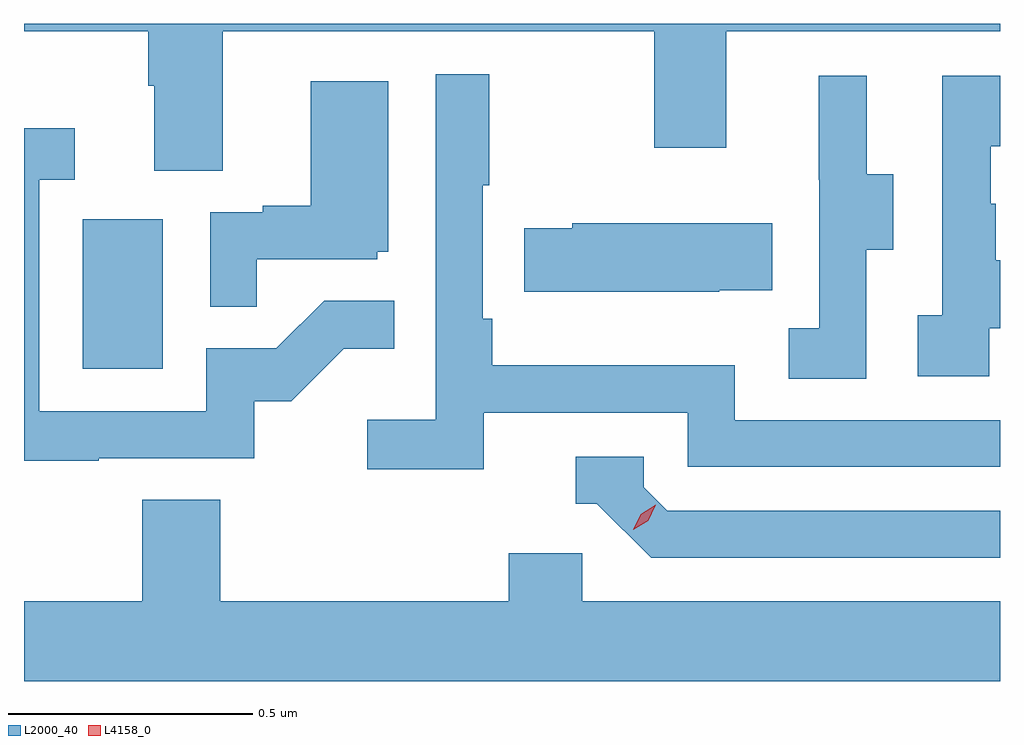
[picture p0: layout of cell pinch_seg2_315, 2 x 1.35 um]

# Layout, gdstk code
import gdstk
lib = gdstk.Library(unit=1e-6, precision=1e-09)
def R(c, l, rs):  # rectangles x0, y0, x1, y1
    for r in rs: c.add(gdstk.rectangle(r[:2], r[2:], *l))
def P(c, l, *ps):  # polygons
    for p in ps: c.add(gdstk.Polygon(p, *l))
L2000_40 = (2000, 40)
L4158_0 = (4158, 0)

pinch_seg2_315 = lib.new_cell('pinch_seg2_315')
R(pinch_seg2_315, L2000_40, [(950.09,640.284,950.254,640.591)])
P(pinch_seg2_315, L2000_40, [(950.377,640.976),(951.262,640.976),(951.262,640.737),(951.409,640.737),(951.409,640.976),(951.97,640.976),(951.97,640.991),(949.97,640.991),(949.97,640.976),(950.225,640.976),(950.225,640.864),(950.237,640.864),(950.237,640.69),(950.377,640.69)],
  [(950.912,640.194),(951.33,640.194),(951.33,640.083),(951.97,640.083),(951.97,640.179),(951.426,640.179),(951.426,640.291),(950.93,640.291),(950.93,640.387),(950.91,640.387),(950.91,640.66),(950.923,640.66),(950.923,640.888),(950.814,640.888),(950.814,640.18),(950.673,640.18),(950.673,640.078),(950.912,640.078)],
  [(951.948,640.367),(951.97,640.367),(951.97,640.507),(951.961,640.507),(951.961,640.622),(951.951,640.622),(951.951,640.74),(951.97,640.74),(951.97,640.885),(951.852,640.885),(951.852,640.394),(951.801,640.394),(951.801,640.269),(951.948,640.269)],
  [(951.696,640.528),(951.751,640.528),(951.751,640.683),(951.697,640.683),(951.697,640.885),(951.599,640.885),(951.599,640.671),(951.6,640.671),(951.6,640.367),(951.537,640.367),(951.537,640.264),(951.696,640.264)],
  [(950.447,640.509),(950.694,640.509),(950.694,640.524),(950.716,640.524),(950.716,640.873),(950.558,640.873),(950.558,640.618),(950.459,640.618),(950.459,640.605),(950.352,640.605),(950.352,640.411),(950.447,640.411)],
  [(950.123,640.101),(950.442,640.101),(950.442,640.218),(950.518,640.218),(950.625,640.325),(950.729,640.325),(950.729,640.424),(950.585,640.424),(950.487,640.326),(950.343,640.326),(950.343,640.197),(950.001,640.197),(950.001,640.671),(950.074,640.671),(950.074,640.777),(949.97,640.777),(949.97,640.096),(950.123,640.096)],
  [(951.395,640.445),(951.503,640.445),(951.503,640.582),(951.093,640.582),(951.093,640.572),(950.995,640.572),(950.995,640.442),(951.395,640.442)],
  [(951.97,639.993),(951.288,639.993),(951.24,640.041),(951.24,640.104),(951.101,640.104),(951.101,640.008),(951.144,640.008),(951.255,639.897),(951.97,639.897)],
  [(951.97,639.808),(951.114,639.808),(951.114,639.906),(950.963,639.906),(950.963,639.808),(950.372,639.808),(950.372,640.016),(950.212,640.016),(950.212,639.808),(949.97,639.808),(949.97,639.644),(951.97,639.644)])
P(pinch_seg2_315, L4158_0, [(951.218,639.954),(951.218,639.954),(951.234,639.986),(951.265,640.006),(951.265,640.006),(951.265,640.006),(951.249,639.973),(951.218,639.954)])

lib.write_gds('pinch_seg2_315.gds')
